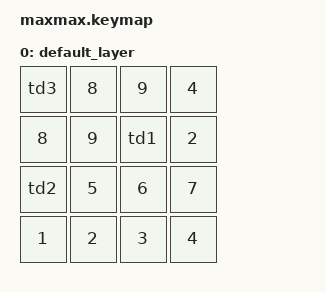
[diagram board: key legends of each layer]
#include <behaviors.dtsi>
#include <dt-bindings/zmk/bt.h>
#include <dt-bindings/zmk/keys.h>
#include <dt-bindings/zmk/outputs.h>

/ {
  behaviors {

  td1: tap_dance_0 {
      compatible = "zmk,behavior-tap-dance";
      #binding-cells = <0>;
      tapping-term-ms = <200>;
      bindings = <&kp N1>, <&bt BT_SEL 0>;
  };

  td2: tap_dance_2 {
      compatible = "zmk,behavior-tap-dance";
      #binding-cells = <0>;
      tapping-term-ms = <200>;
      bindings = <&kp N1>, <&kp N2>, <&kp N3>;
  };

  td3: tap_dance_3 {
      compatible = "zmk,behavior-tap-dance";
      #binding-cells = <0>;
      tapping-term-ms = <200>;
      bindings = <&kp N7>, <&out OUT_BLE>, <&kp N3>;
    };
  };

  keymap {
    compatible = "zmk,keymap";

    default_layer {
      bindings = <
    &td3     &kp N8  &kp N9   &kp N4 
    &kp N8   &kp N9  &td1     &kp N2
    &td2     &kp N5  &kp N6   &kp N7
    &kp N1   &kp N2  &kp N3   &kp N4
  >;
    };
  };
};
